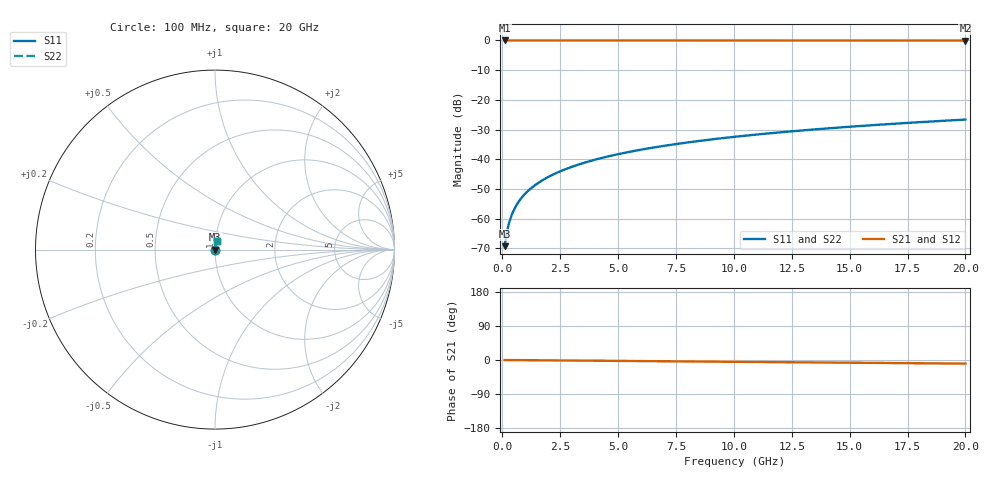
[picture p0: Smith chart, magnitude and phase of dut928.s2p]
! Touchstone file exported from HFSS 2026.1.0
!  File:  C:/ffzhzh/LocalFiles/Ansys_Project_Files/temp_train_TSV_928_1783186751_51560.aedt
!  Generated:  01:40:56 AM Jul  5, 2026
!  Design:  TSV
!  Project:  temp_train_TSV_928_1783186751_51560
! Variables:
!  h_bsmrdl = 2um
!  h_ox = 20um
!  h_rdl = 5um
!  h_sub = 91.16um
!  h_tmrdl = 5um
!  h_tsv = 91.16um
!  h_via = 3um
!  l_bsmrdl = 300um
!  l_sub = 416.04um
!  l_tmrdl = 200um
!  m_sub = 200um
!  pitch = 47.13um
!  r_tsv = 8.02um
!  s_tmrdl = 10um
!  w_bsmrdl = 18um
!  w_sub = 500um
!  w_tmrdl = 12um
!  x_tsv_center1 = 206um
!  x_tsv_center2 = 524um
!  x_tsv_center3 = 736um
!  x_tsv_center4 = 1054um
!  x_tsv_center5 = 1266um
!  x_tsv_center6 = 1584um
# GHz S MA R 50.000000
! Terminal data exported
! Port[1] = TSV1_1_T1
! Port[2] = TSV1_1_T2
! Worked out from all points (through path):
!   200 points, 100 MHz to 20 GHz, reference 50 ohm
!   highest |S21| = 0.00 dB at 100 MHz (marker M1); lowest = 0.0 dB at 20 GHz (marker M2)
!   group delay of S21, straight-line fit = 1.32 ps
!   lowest |S11| = -69.3 dB at 100 MHz (marker M3), VSWR 1.00, Z = 50 + j0.0281 ohm
!   |S11| at or under -10 dB: start of sweep to end of sweep
!   |S22| runs from -69.3 to -26.6 dB; largest |S21 - S12| = 6.4e-15
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0.1  0.0003432 54.8  0.9998 -0.1  0.9998 -0.1  0.0003432 54.8
! Gamma 0 0 0 0
! Port Impedance 50 0 50 0
0.2  0.0005969 69.5  0.9998 -0.1  0.9998 -0.1  0.0005969 69.5
0.3  0.000864 74.7  0.9998 -0.2  0.9998 -0.2  0.000864 74.7
0.4  0.001131 77.2  0.9998 -0.2  0.9998 -0.2  0.001131 77.2
0.5  0.001395 78.6  0.9997 -0.2  0.9997 -0.2  0.001395 78.6
0.6  0.001654 79.4  0.9997 -0.3  0.9997 -0.3  0.001654 79.4
0.7  0.001909 80.0  0.9997 -0.3  0.9997 -0.3  0.001909 80.0
0.8  0.00216 80.4  0.9997 -0.4  0.9997 -0.4  0.00216 80.4
1  0.002654 81.1  0.9996 -0.5  0.9996 -0.5  0.002654 81.1
1.4  0.003622 82.0  0.9995 -0.7  0.9995 -0.7  0.003622 82.0
1.7  0.004341 82.5  0.9995 -0.8  0.9995 -0.8  0.004341 82.5
2  0.005057 82.9  0.9994 -1.0  0.9994 -1.0  0.005057 82.9
2.7  0.006725 83.5  0.9994 -1.3  0.9994 -1.3  0.006725 83.5
3.5  0.008625 83.7  0.9993 -1.7  0.9993 -1.7  0.008625 83.7
4.2  0.01028 83.8  0.9992 -2.0  0.9992 -2.0  0.01028 83.8
5  0.01216 83.7  0.9991 -2.4  0.9991 -2.4  0.01216 83.7
6.8  0.01636 83.4  0.9989 -3.3  0.9989 -3.3  0.01636 83.4
8.3  0.01984 82.9  0.9987 -4.0  0.9987 -4.0  0.01984 82.9
10.1  0.02399 82.4  0.9985 -4.8  0.9985 -4.8  0.02399 82.4
13.4  0.03156 81.2  0.9982 -6.4  0.9982 -6.4  0.03156 81.2
16.7  0.03907 79.8  0.9977 -8.0  0.9977 -8.0  0.03907 79.8
20  0.04651 78.4  0.9973 -9.5  0.9973 -9.5  0.04651 78.4
